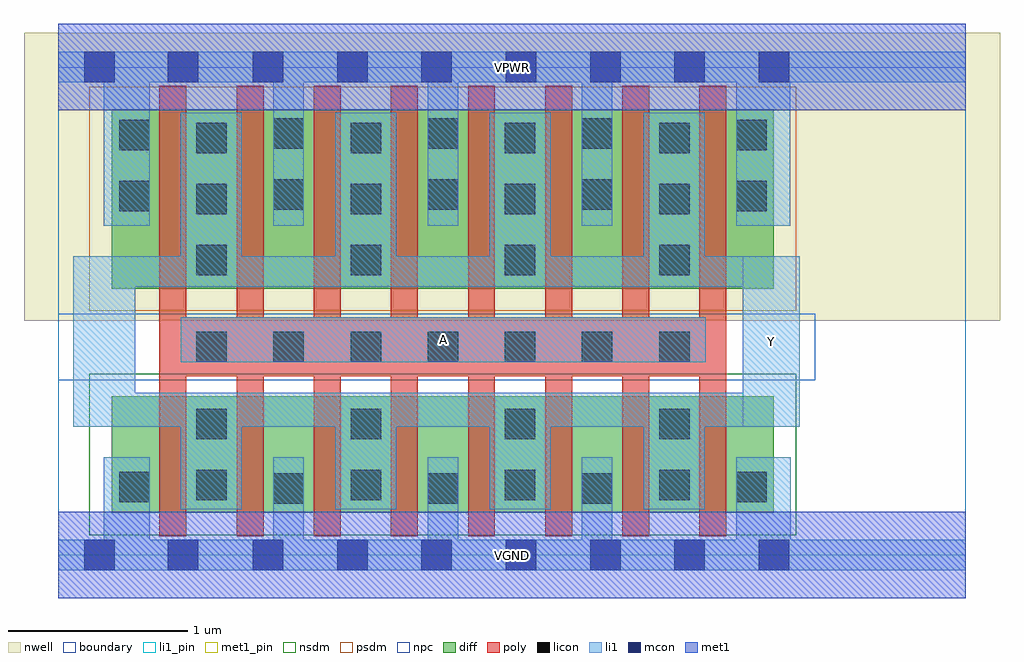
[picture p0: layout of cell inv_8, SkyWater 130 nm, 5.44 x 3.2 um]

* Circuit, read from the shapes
.subckt inv_8 A VGND VPWR Y
XM1 Y A VGND VSUBS sky130_fd_pr__nfet_01v8 w=0.65 l=0.15 m=8
XM2 Y A VPWR n1 sky130_fd_pr__pfet_01v8 w=1 l=0.15 m=8
.ends

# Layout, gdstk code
import gdstk
lib = gdstk.Library(unit=1e-6, precision=1e-09)
def R(c, l, rs):  # rectangles x0, y0, x1, y1
    for r in rs: c.add(gdstk.rectangle(r[:2], r[2:], *l))
def A(c, l, x, y, w, h, nx, ny, dx, dy):  # array of equal rectangles
    R(c, l, [(x+i*dx, y+j*dy, x+i*dx+w, y+j*dy+h) for i in range(nx) for j in range(ny)])
nwell = (64, 20)
diff = (65, 20)
poly = (66, 20)
licon = (66, 44)
li1_pin = (67, 16)
li1 = (67, 20)
mcon = (67, 44)
met1_pin = (68, 16)
met1 = (68, 20)
nsdm = (93, 44)
psdm = (94, 20)
npc = (95, 20)
boundary = (235, 4)

inv_8 = lib.new_cell('inv_8')
R(inv_8, nwell, [(-0.19,1.305,5.25,2.91), (0,1.305,5.06,2.91)])
R(inv_8, diff, [(0.3,0.235,3.99,0.885), (0.3,1.485,3.99,2.485)])
A(inv_8, poly, 0.565, 0.105, 0.15, 2.51, 8, 1, 0.43, 0)
R(inv_8, poly, [(0.565,0.995,3.725,1.325)])
A(inv_8, licon, 1.2, 0.285, 0.17, 0.17, 3, 2, 0.86, 1.64)
A(inv_8, licon, 0.77, 0.305, 0.17, 0.17, 4, 2, 0.86, 0.34)
A(inv_8, licon, 0.77, 1.075, 0.17, 0.17, 7, 1, 0.43, 0)
A(inv_8, licon, 0.77, 1.56, 0.17, 0.17, 4, 3, 0.86, 0.34)
A(inv_8, licon, 1.2, 2.265, 0.17, 0.17, 3, 1, 0.86, 0)
R(inv_8, licon, [(0.34,0.295,0.51,0.465), (3.78,0.295,3.95,0.465), (0.34,1.915,0.51,2.085), (3.78,1.915,3.95,2.085), (0.34,2.255,0.51,2.425), (3.78,2.255,3.95,2.425)])
R(inv_8, li1_pin, [(3.815,0.715,4.135,1.665), (0.685,1.075,3.61,1.325)])
A(inv_8, li1, 1.2, -0.085, 0.17, 0.63, 3, 1, 0.86, 0)
A(inv_8, li1, 0.685, 0.255, 0.34, 0.65, 4, 1, 0.86, 0)
A(inv_8, li1, 0.685, 1.495, 0.34, 0.97, 4, 1, 0.86, 0)
A(inv_8, li1, 1.2, 1.835, 0.17, 0.97, 3, 1, 0.86, 0)
R(inv_8, li1, [(0,-0.085,5.06,0.085), (0.255,-0.085,0.51,0.545), (3.78,-0.085,4.085,0.545), (0.085,0.715,4.135,0.905), (0.085,0.715,0.43,1.665), (3.815,0.715,4.135,1.665), (0.685,1.075,3.61,1.325), (0.085,1.495,4.135,1.665), (0.255,1.835,0.51,2.805), (3.78,1.835,4.08,2.805), (0,2.635,5.06,2.805)])
A(inv_8, mcon, 1.085, -0.085, 0.17, 0.17, 7, 2, 0.47, 2.72)
R(inv_8, mcon, [(0.145,-0.085,0.315,0.085), (0.61,-0.085,0.78,0.085), (0.145,2.635,0.315,2.805), (0.61,2.635,0.78,2.805)])
R(inv_8, met1_pin, [(0,-0.24,5.06,0.24), (0,2.48,5.06,2.96)])
R(inv_8, met1, [(0,-0.24,5.06,0.24), (0,2.48,5.06,2.96)])
R(inv_8, nsdm, [(0.175,0.11,4.115,1.01)])
R(inv_8, psdm, [(0.175,1.36,4.115,2.61)])
R(inv_8, npc, [(0,0.975,4.22,1.345)])
R(inv_8, boundary, [(0,0,5.06,2.72)])
inv_8.add(gdstk.Label('A', (2.147,1.2), layer=67, texttype=5))
inv_8.add(gdstk.Label('Y', (3.975,1.19), layer=67, texttype=5))
inv_8.add(gdstk.Label('VPWR', (2.53,2.72), layer=68, texttype=5))
inv_8.add(gdstk.Label('VGND', (2.53,0), layer=68, texttype=5))
inv_8.add(gdstk.Label('A', (2.147,1.2), layer=67, texttype=16))
inv_8.add(gdstk.Label('Y', (3.975,1.19), layer=67, texttype=16))
inv_8.add(gdstk.Label('VPWR', (2.53,2.72), layer=68, texttype=16))
inv_8.add(gdstk.Label('VGND', (2.53,0), layer=68, texttype=16))

lib.write_gds('inv_8.gds')
